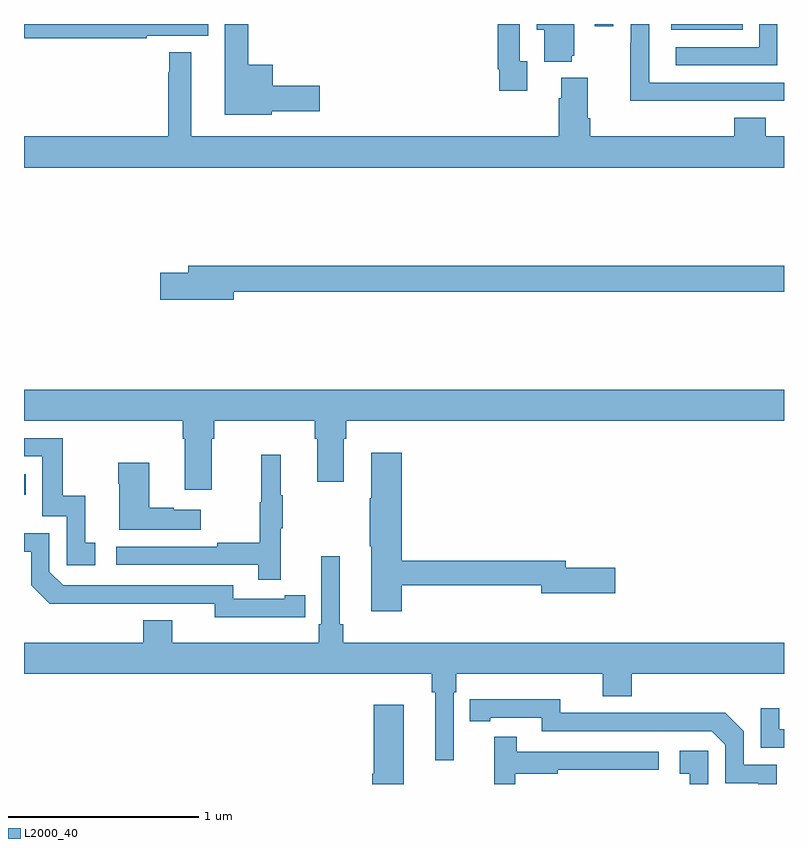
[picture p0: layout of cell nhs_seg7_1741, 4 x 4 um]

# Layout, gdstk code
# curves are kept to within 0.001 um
import gdstk
lib = gdstk.Library(unit=1e-6, precision=1e-09)
def R(c, l, rs):  # rectangles x0, y0, x1, y1
    for r in rs: c.add(gdstk.rectangle(r[:2], r[2:], *l))
def P(c, l, *ps):  # polygons
    for p in ps: c.add(gdstk.Polygon(p, *l))
L2000_40 = (2000, 40)

nhs_seg7_1741 = lib.new_cell('nhs_seg7_1741')
R(nhs_seg7_1741, L2000_40, [(229,1037.523,229.01,1037.629), (232.406,1039.97,232.784,1040), (232.005,1039.989,232.101,1040)])
P(nhs_seg7_1741, L2000_40, [(229.646,1039.937),(229.969,1039.937),(229.969,1040),(229,1040),(229,1039.924),(229.646,1039.924)],
  [(231.884,1039.833),(231.895,1039.833),(231.895,1040),(231.698,1040),(231.698,1039.97),(231.737,1039.97),(231.737,1039.802),(231.884,1039.802)],
  [(230.304,1039.541),(230.557,1039.541),(230.557,1039.676),(230.308,1039.676),(230.308,1039.786),(230.179,1039.786),(230.179,1040),(230.057,1040),(230.057,1039.523),(230.304,1039.523)],
  [(232.655,1039.596),(233,1039.596),(233,1039.692),(232.29,1039.692),(232.29,1040),(232.194,1040),(232.194,1039.901),(232.192,1039.901),(232.192,1039.595),(232.655,1039.595)],
  [(231.649,1039.805),(231.609,1039.805),(231.609,1040),(231.493,1040),(231.493,1039.762),(231.501,1039.762),(231.501,1039.65),(231.649,1039.65)],
  [(232.965,1040),(232.869,1040),(232.869,1039.878),(232.431,1039.878),(232.431,1039.782),(232.965,1039.782)],
  [(233,1039.408),(232.904,1039.408),(232.904,1039.507),(232.739,1039.507),(232.739,1039.408),(231.98,1039.408),(231.98,1039.504),(231.967,1039.504),(231.967,1039.717),(231.827,1039.717),(231.827,1039.61),(231.815,1039.61),(231.815,1039.408),(229.879,1039.408),(229.879,1039.852),(229.764,1039.852),(229.764,1039.745),(229.758,1039.745),(229.758,1039.408),(229,1039.408),(229,1039.244),(233,1039.244)],
  [(230.104,1038.592),(233,1038.592),(233,1038.728),(229.865,1038.728),(229.865,1038.692),(229.716,1038.692),(229.716,1038.55),(230.104,1038.55)],
  [(229.987,1037.816),(230,1037.816),(230,1037.912),(230.531,1037.912),(230.531,1037.816),(230.543,1037.816),(230.543,1037.592),(230.683,1037.592),(230.683,1037.816),(230.696,1037.816),(230.696,1037.912),(233,1037.912),(233,1038.076),(229,1038.076),(229,1037.912),(229.835,1037.912),(229.835,1037.816),(229.847,1037.816),(229.847,1037.55),(229.987,1037.55)],
  [(229.375,1037.271),(229.322,1037.271),(229.322,1037.518),(229.204,1037.518),(229.204,1037.82),(229,1037.82),(229,1037.724),(229.095,1037.724),(229.095,1037.409),(229.224,1037.409),(229.224,1037.151),(229.375,1037.151)],
  [(230.987,1037.046),(231.722,1037.046),(231.722,1037.003),(232.111,1037.003),(232.111,1037.138),(231.85,1037.138),(231.85,1037.174),(230.987,1037.174),(230.987,1037.743),(230.828,1037.743),(230.828,1037.504),(230.821,1037.504),(230.821,1037.251),(230.828,1037.251),(230.828,1036.908),(230.987,1036.908)],
  [(230.351,1037.347),(230.362,1037.347),(230.362,1037.521),(230.351,1037.521),(230.351,1037.734),(230.248,1037.734),(230.248,1037.484),(230.241,1037.484),(230.241,1037.27),(230.017,1037.27),(230.017,1037.25),(229.485,1037.25),(229.485,1037.154),(230.233,1037.154),(230.233,1037.076),(230.351,1037.076)],
  [(229.93,1037.443),(229.787,1037.443),(229.787,1037.453),(229.66,1037.453),(229.66,1037.692),(229.495,1037.692),(229.495,1037.579),(229.502,1037.579),(229.502,1037.339),(229.93,1037.339)],
  [(230.372,1036.878),(230.48,1036.878),(230.48,1036.994),(230.372,1036.994),(230.372,1036.974),(230.1,1036.974),(230.1,1037.046),(229.206,1037.046),(229.134,1037.118),(229.134,1037.319),(229,1037.319),(229,1037.223),(229.038,1037.223),(229.038,1037.046),(229.136,1036.949),(230.004,1036.95),(230.004,1036.877)],
  [(231.261,1036.484),(231.275,1036.484),(231.275,1036.58),(232.046,1036.58),(232.046,1036.463),(232.199,1036.463),(232.199,1036.58),(233,1036.58),(233,1036.744),(230.681,1036.744),(230.681,1036.84),(230.662,1036.84),(230.662,1037.2),(230.565,1037.2),(230.565,1036.84),(230.552,1036.84),(230.552,1036.744),(229.78,1036.744),(229.78,1036.861),(229.628,1036.861),(229.628,1036.744),(229,1036.744),(229,1036.58),(231.145,1036.58),(231.145,1036.484),(231.164,1036.484),(231.164,1036.125),(231.261,1036.125)],
  [(232.962,1036.101),(232.788,1036.101),(232.788,1036.278),(232.69,1036.376),(232.282,1036.376),(232.282,1036.374),(231.822,1036.374),(231.822,1036.447),(231.346,1036.446),(231.346,1036.33),(231.454,1036.33),(231.454,1036.35),(231.726,1036.35),(231.726,1036.278),(232.62,1036.278),(232.692,1036.206),(232.692,1036.005),(232.865,1036.005),(232.865,1036),(232.962,1036)],
  [(230.998,1036.417),(230.84,1036.417),(230.84,1036.053),(230.834,1036.053),(230.834,1036),(230.998,1036)],
  [(233,1036.287),(232.975,1036.287),(232.975,1036.399),(232.878,1036.399),(232.878,1036.191),(233,1036.191)],
  [(231.586,1036.054),(231.809,1036.054),(231.809,1036.074),(232.342,1036.074),(232.342,1036.17),(231.593,1036.17),(231.593,1036.249),(231.476,1036.249),(231.476,1036),(231.586,1036)],
  [(232.602,1036.174),(232.452,1036.174),(232.452,1036.053),(232.505,1036.053),(232.505,1036),(232.602,1036)])

lib.write_gds('nhs_seg7_1741.gds')
